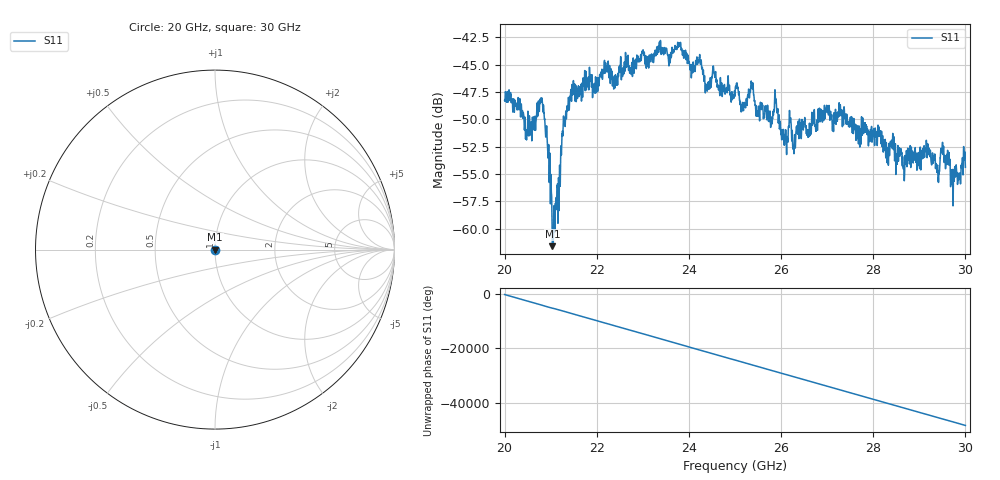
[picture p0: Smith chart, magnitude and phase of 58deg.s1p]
#  HZ  S  RI  R  50.00
! Rohde & Schwarz ZVA40 4Ports - Version 3.90 - 1145.1110k42 SN: 100403
! Date: 2023-10-03 12:04:26
! Measurement: S12
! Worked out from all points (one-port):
!   5001 points, 20 GHz to 30 GHz, reference 50 ohm
!   lowest |S11| = -61.6 dB at 21.04 GHz (marker M1), VSWR 1.00, Z = 50 - j0.0799 ohm
!   |S11| at or under -10 dB: start of sweep to end of sweep
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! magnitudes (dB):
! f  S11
! 20 GHz  -48.3
! 20.48 GHz  -51.7
! 20.81 GHz  -48.1
! 20.94 GHz  -52.6
! 21.04 GHz  -61.6
! 21.08 GHz  -58.1
! 21.25 GHz  -51.5
! 21.48 GHz  -47.8
! 22.5 GHz  -45.1
! 23.75 GHz  -43.4
! 24.22 GHz  -44.6
! 24.4 GHz  -47.4
! 24.54 GHz  -45.6
! 25 GHz  -47.8
! 25.18 GHz  -48.9
! 25.37 GHz  -46.8
! 25.77 GHz  -50.4
! 25.88 GHz  -48.1
! 26.04 GHz  -51.7
! 26.25 GHz  -52.4
! 26.98 GHz  -49.0
! 27.5 GHz  -49.9
! 28.75 GHz  -52.7
! 29.17 GHz  -53.0
! 29.4 GHz  -54.2
! 29.51 GHz  -52.6
! 29.72 GHz  -54.8
! 30 GHz  -54.4
